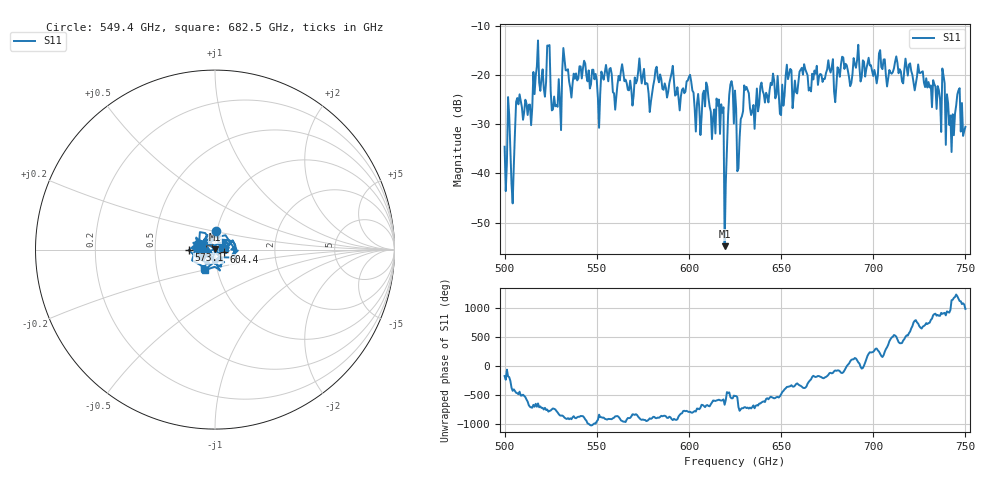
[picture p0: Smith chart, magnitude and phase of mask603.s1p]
!Created with skrf (http://scikit-rf.org).
# GHz S MA R 50.0
!freq magS11 angS11
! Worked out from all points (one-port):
!   401 points, 500 GHz to 750 GHz, reference 50 ohm
!   lowest |S11| = -54.8 dB at 619.4 GHz (marker M1), VSWR 1.00, Z = 50.1 + j0.141 ohm
!   |S11| at or under -10 dB: start of sweep to end of sweep
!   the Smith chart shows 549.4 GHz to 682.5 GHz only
!   S11 on the Smith chart (normalised r, x): 549.4 GHz: 0.99, +0.21; 573.1 GHz: 0.74, -0.01; 604.4 GHz: 1.10, -0.03; 682.5 GHz: 0.87, -0.20
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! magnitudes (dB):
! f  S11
! 500 GHz  -34.6
! 504.4 GHz  -46.1
! 507.5 GHz  -26.0
! 513.8 GHz  -26.0
! 516.9 GHz  -20.2
! 523.8 GHz  -14.0
! 526.9 GHz  -24.4
! 531.2 GHz  -19.2
! 549.4 GHz  -19.8
! 562.5 GHz  -21.1
! 573.1 GHz  -16.6
! 593.8 GHz  -22.5
! 600 GHz  -20.4
! 604.4 GHz  -25.9
! 617.5 GHz  -25.9
! 619.4 GHz  -54.8
! 620.6 GHz  -35.2
! 622.5 GHz  -21.9
! 625 GHz  -23.2
! 627.5 GHz  -32.8
! 631.2 GHz  -22.4
! 634.4 GHz  -27.3
! 656.2 GHz  -26.7
! 682.5 GHz  -17.8
! 687.5 GHz  -22.3
! 718.8 GHz  -20.1
! 745.6 GHz  -23.9
! 750 GHz  -30.5
